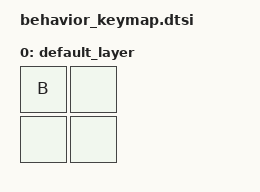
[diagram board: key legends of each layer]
#include <dt-bindings/zmk/keys.h>
#include <behaviors.dtsi>
#include <dt-bindings/zmk/input_matrix_mock.h>

/ {
    keymap {
        compatible = "zmk,keymap";

        default_layer {
            bindings = <
                &kp B &none
                &none &none
            >;
        };
    };
};
